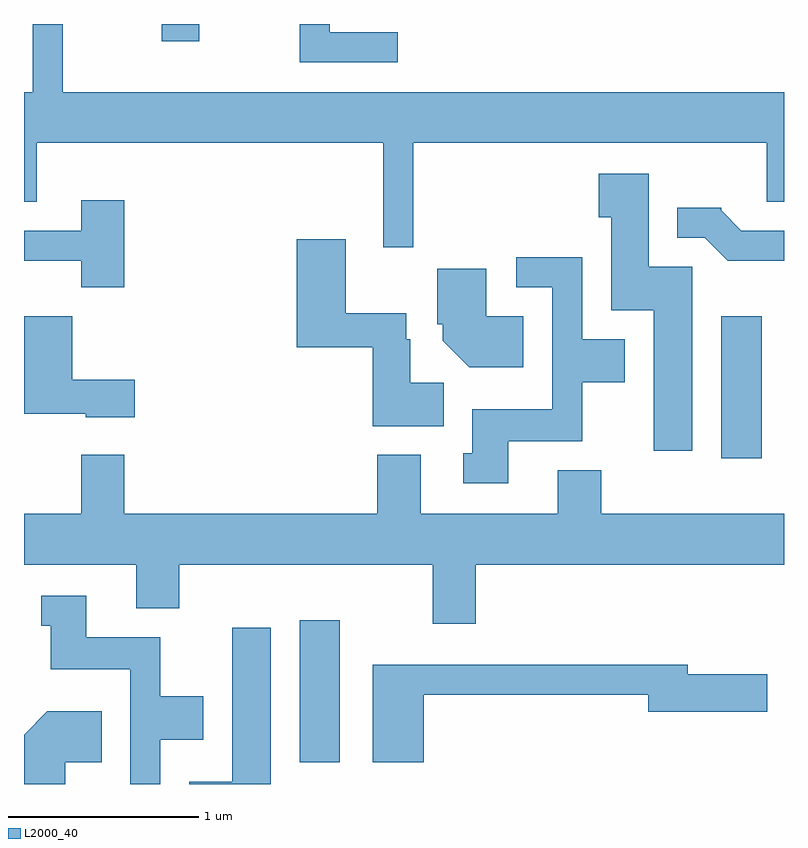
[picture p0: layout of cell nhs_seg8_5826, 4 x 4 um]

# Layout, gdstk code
import gdstk
lib = gdstk.Library(unit=1e-6, precision=1e-09)
def R(c, l, rs):  # rectangles x0, y0, x1, y1
    for r in rs: c.add(gdstk.rectangle(r[:2], r[2:], *l))
def P(c, l, *ps):  # polygons
    for p in ps: c.add(gdstk.Polygon(p, *l))
L2000_40 = (2000, 40)

nhs_seg8_5826 = lib.new_cell('nhs_seg8_5826')
R(nhs_seg8_5826, L2000_40, [(361.061,1866.456,361.274,1867.204), (363.281,1868.056,363.494,1868.804), (360.336,1870.251,360.534,1870.342)])
P(nhs_seg8_5826, L2000_40, [(361.578,1870.299),(361.219,1870.299),(361.219,1870.342),(361.061,1870.342),(361.061,1870.141),(361.578,1870.141)],
  [(359.814,1870.342),(359.656,1870.342),(359.656,1869.984),(359.611,1869.984),(359.611,1869.406),(359.679,1869.406),(359.679,1869.716),(361.501,1869.716),(361.501,1869.168),(361.659,1869.168),(361.659,1869.716),(363.521,1869.716),(363.521,1869.406),(363.611,1869.406),(363.611,1869.984),(359.814,1869.984)],
  [(363.129,1869.064),(362.899,1869.064),(362.899,1869.554),(362.636,1869.554),(362.636,1869.326),(362.701,1869.326),(362.701,1868.836),(362.926,1868.836),(362.926,1868.096),(363.129,1868.096)],
  [(360.139,1869.414),(359.911,1869.414),(359.911,1869.254),(359.611,1869.254),(359.611,1869.096),(359.911,1869.096),(359.911,1868.956),(360.139,1868.956)],
  [(363.611,1869.254),(363.387,1869.254),(363.28,1869.361),(363.28,1869.374),(363.048,1869.374),(363.048,1869.216),(363.194,1869.216),(363.314,1869.096),(363.611,1869.096)],
  [(361.819,1868.454),(361.644,1868.454),(361.644,1868.684),(361.624,1868.684),(361.624,1868.819),(361.304,1868.819),(361.304,1869.209),(361.046,1869.209),(361.046,1868.641),(361.446,1868.641),(361.446,1868.226),(361.819,1868.226)],
  [(362.159,1868.146),(362.549,1868.146),(362.549,1868.456),(362.774,1868.456),(362.774,1868.684),(362.549,1868.684),(362.549,1869.114),(362.203,1869.114),(362.203,1868.956),(362.391,1868.956),(362.391,1868.314),(361.971,1868.314),(361.971,1868.084),(361.923,1868.084),(361.923,1867.926),(362.159,1867.926)],
  [(362.239,1868.804),(362.044,1868.804),(362.044,1869.054),(361.786,1869.054),(361.786,1868.761),(361.816,1868.761),(361.816,1868.674),(361.954,1868.536),(362.239,1868.536)],
  [(360.194,1868.469),(359.864,1868.469),(359.864,1868.804),(359.611,1868.804),(359.611,1868.291),(359.936,1868.291),(359.936,1868.271),(360.194,1868.271)],
  [(361.989,1867.496),(363.611,1867.496),(363.611,1867.764),(362.649,1867.764),(362.649,1867.994),(362.421,1867.994),(362.421,1867.764),(361.699,1867.764),(361.699,1868.074),(361.471,1868.074),(361.471,1867.764),(360.139,1867.764),(360.139,1868.074),(359.911,1868.074),(359.911,1867.764),(359.611,1867.764),(359.611,1867.496),(360.201,1867.496),(360.201,1867.266),(360.429,1867.266),(360.429,1867.496),(361.761,1867.496),(361.761,1867.186),(361.989,1867.186)],
  [(360.329,1866.576),(360.554,1866.576),(360.554,1866.804),(360.329,1866.804),(360.329,1867.114),(359.939,1867.114),(359.939,1867.334),(359.703,1867.334),(359.703,1867.176),(359.751,1867.176),(359.751,1866.946),(360.171,1866.946),(360.171,1866.342),(360.329,1866.342)],
  [(360.909,1867.164),(360.706,1867.164),(360.706,1866.354),(360.481,1866.354),(360.481,1866.342),(360.909,1866.342)],
  [(361.714,1866.811),(362.896,1866.811),(362.896,1866.721),(363.524,1866.721),(363.524,1866.919),(363.104,1866.919),(363.104,1866.969),(361.446,1866.969),(361.446,1866.456),(361.714,1866.456)],
  [(359.829,1866.456),(360.019,1866.456),(360.019,1866.724),(359.734,1866.724),(359.611,1866.602),(359.611,1866.342),(359.829,1866.342)])

lib.write_gds('nhs_seg8_5826.gds')
